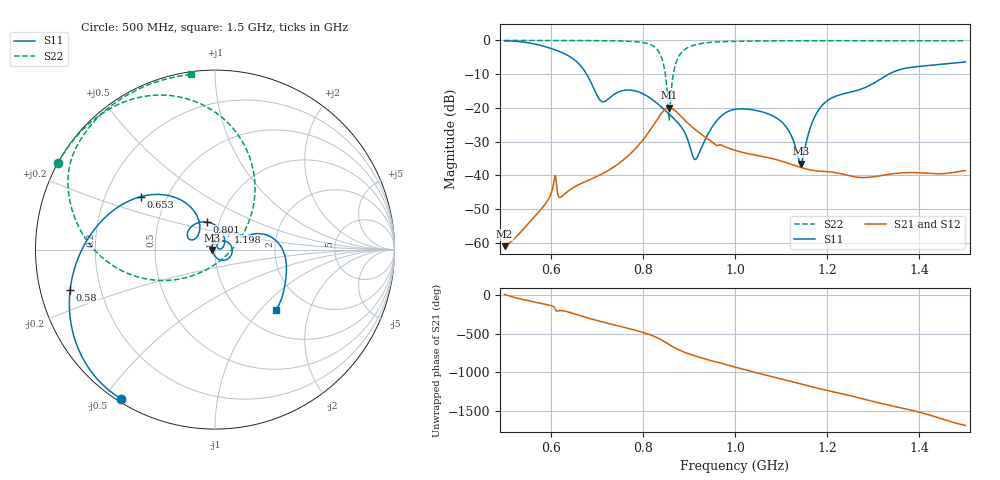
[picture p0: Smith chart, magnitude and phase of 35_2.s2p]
! TOUCHSTONE file generated by CST MICROWAVE STUDIO
! Date and time: Wed Oct 28 19:40:07 2020
! Project name: Scenario_1_Circular_Tissue_out_of_Line_v2.cst
! Parameters = {dy1=242.2; L_HA=400; MT=2.54; Rad_Dielectric=30; Rad_Lower=7.3; Rad_Upper=30; a_HA=580; a_WG=246; b_HA=500; b_WG=121; c_HA=0; c_WG=187; d_feed=85; dx1=346; h_feed=15; h_lower=18; h_upper=40}
! Header version: 2018
! Port assignment regex: !\s*Touchstone port\s*([0-9]+)\s*=\s*(CST MWS port|CST DS port)\s*([0-9]+|Zmin|Zmax)\s*\(\"(.*)\"\)(\s*mode\s*([0-9]+))?.*
! Touchstone port assignment:
! Touchstone port 1 = CST MWS port 1 ("")
! Touchstone port 2 = CST MWS port 2 ("")
# GHz S DB R 50
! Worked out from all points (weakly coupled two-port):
!   1003 points, 500 MHz to 1.5 GHz, reference 50 ohm
!   highest |S21| = -19.98 dB at 857 MHz (marker M1); lowest = -61.0 dB at 500 MHz (marker M2)
!   lowest |S11| = -36.5 dB at 1.143 GHz (marker M3), VSWR 1.03, Z = 48.5 - j0.135 ohm
!   |S11| at or under -10 dB: 678 MHz to 1.334 GHz (655.7 MHz wide, 65.2 % of centre)
!   |S22| runs from -23.6 to 0.0 dB; largest |S21 - S12| = 4.1e-05
!   S11 on the Smith chart (normalised r, x): 500 MHz: 0.01, -0.55; 580 MHz: 0.09, -0.13; 653 MHz: 0.36, +0.28; 801 MHz: 0.87, +0.27; 1.198 GHz: 1.14, +0.23; 1.5 GHz: 1.40, -1.23
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0.5  -0.15 -122.3  -61.03 2.1  -61.03 2.1  -0.01 151.1
0.58  -1.54 -164.5  -49.92 -113.0  -49.92 -113.0  -0.02 145.6
0.608  -2.72 178.4  -40.95 -162.3  -40.97 -162.4  -0.02 143.5
0.621  -3.40 169.6  -46.57 156.4  -46.57 156.4  -0.02 142.4
0.653  -5.92 144.2  -43.34 111.2  -43.34 111.2  -0.03 139.7
0.667  -7.83 131.7  -42.37 85.5  -42.37 85.5  -0.04 138.4
0.711  -18.12 139.5  -39.64 12.2  -39.64 12.2  -0.08 133.5
0.801  -15.87 106.9  -29.35 -126.2  -29.35 -126.2  -0.65 112.2
0.834  -19.00 72.8  -22.84 159.1  -22.84 159.1  -3.22 82.2
0.845  -20.32 61.8  -20.87 123.9  -20.87 123.9  -7.22 59.3
0.857  -21.84 50.0  -19.98 79.9  -19.98 79.9  -23.61 -47.9
0.867  -23.14 40.1  -20.52 44.5  -20.52 44.5  -9.28 -149.9
0.876  -24.42 30.7  -21.59 16.9  -21.59 16.9  -5.21 -168.7
0.914  -35.31 37.3  -26.48 -68.7  -26.48 -68.7  -1.30 160.5
0.96  -23.88 48.4  -31.18 -144.7  -31.18 -144.7  -0.45 146.9
1  -20.44 4.5  -32.61 149.7  -32.61 149.7  -0.28 140.2
1.096  -23.58 -61.1  -35.59 2.5  -35.59 2.5  -0.12 130.1
1.143  -36.54 -174.6  -37.68 -67.0  -37.68 -67.0  -0.10 126.1
1.167  -24.51 90.3  -38.51 -103.8  -38.51 -103.8  -0.10 124.2
1.198  -18.12 53.0  -38.90 -148.6  -38.90 -148.6  -0.09 121.8
1.334  -9.98 13.2  -39.71 19.8  -39.71 19.8  -0.08 111.5
1.5  -6.40 -45.0  -38.58 118.8  -38.57 118.8  -0.13 97.9
